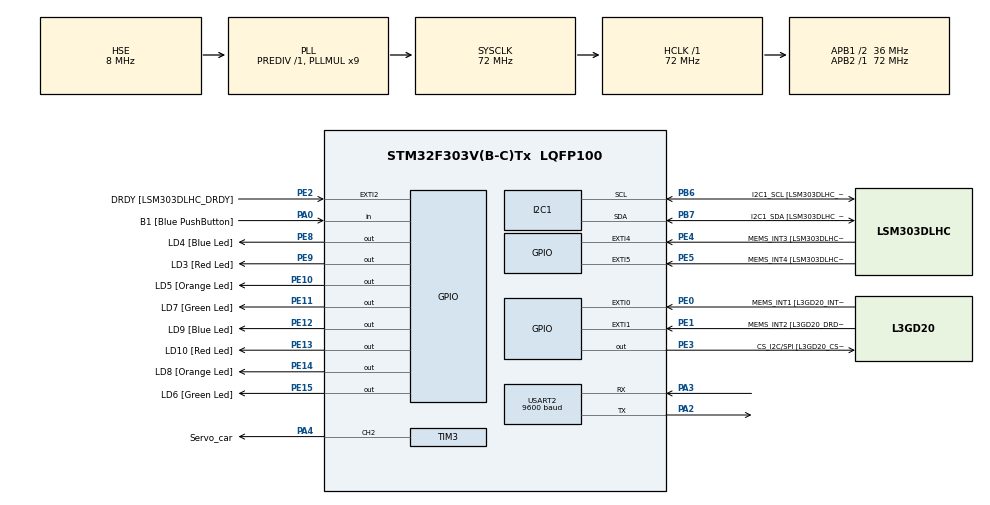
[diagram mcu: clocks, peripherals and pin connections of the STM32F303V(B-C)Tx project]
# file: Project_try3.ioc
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Mcu.Family=STM32F3
Mcu.Name=STM32F303V(B-C)Tx
Mcu.Package=LQFP100
NVIC.PriorityGroup=NVIC_PRIORITYGROUP_0
PA0.GPIO_Label=B1 [Blue PushButton]
PA0.GPIO_Mode=GPIO_MODE_INPUT
PA0.GPIO_PuPd=GPIO_NOPULL
PA0.Signal=GPIO_Input
PA11.GPIO_Label=DM
PA11.Signal=USB_DM
PA12.GPIO_Label=DP
PA12.Signal=USB_DP
PA13.GPIO_Label=SWDIO
PA13.Signal=SYS_JTMS-SWDIO
PA14.GPIO_Label=SWCLK
PA14.Signal=SYS_JTCK-SWCLK
PA2.Mode=Asynchronous
PA2.Signal=USART2_TX
PA3.Mode=Asynchronous
PA3.Signal=USART2_RX
PA4.GPIO_Label=Servo_car
PA4.Signal=S_TIM3_CH2
PA5.GPIO_Label=SPI1_SCK [L3GD20_SCL/SPC]
PA5.GPIO_Mode=GPIO_MODE_AF_PP
PA5.GPIO_PuPd=GPIO_NOPULL
PA5.GPIO_Speed=GPIO_SPEED_FREQ_LOW
PA5.Signal=SPI1_SCK
PA6.GPIO_Label=SPI1_MISO [L3GD20_SA0/SDO]
PA6.GPIO_Mode=GPIO_MODE_AF_PP
PA6.GPIO_PuPd=GPIO_NOPULL
PA6.GPIO_Speed=GPIO_SPEED_FREQ_LOW
PA6.Signal=SPI1_MISO
PA7.GPIO_Label=SPI1_MISO [L3GD20_SDA/SDI/SDO]
PA7.GPIO_Mode=GPIO_MODE_AF_PP
PA7.GPIO_PuPd=GPIO_NOPULL
PA7.GPIO_Speed=GPIO_SPEED_FREQ_LOW
PA7.Signal=SPI1_MOSI
PB3.GPIO_Label=SWO
PB3.Signal=SYS_JTDO-TRACESWO
PB6.GPIO_FM6=__NULL
PB6.GPIO_Label=I2C1_SCL [LSM303DLHC_SCL]
PB6.GPIO_Mode=GPIO_MODE_AF_OD
PB6.GPIO_PuPd=GPIO_NOPULL
PB6.GPIO_Speed=GPIO_SPEED_FREQ_LOW
PB6.Mode=I2C
PB6.Signal=I2C1_SCL
PB7.GPIO_FM7=__NULL
PB7.GPIO_Label=I2C1_SDA [LSM303DLHC_SDA]
PB7.GPIO_Mode=GPIO_MODE_AF_OD
PB7.GPIO_PuPd=GPIO_NOPULL
PB7.GPIO_Speed=GPIO_SPEED_FREQ_LOW
PB7.Mode=I2C
PB7.Signal=I2C1_SDA
PC14-OSC32_IN.GPIO_Label=OSC32_IN
PC14-OSC32_IN.Signal=RCC_OSC32_IN
PC15-OSC32_OUT.GPIO_Label=OSC32_OUT
PC15-OSC32_OUT.Signal=RCC_OSC32_OUT
PE0.GPIO_Label=MEMS_INT1 [L3GD20_INT1]
PE0.GPIO_ModeDefaultEXTI=GPIO_MODE_EVT_RISING
PE0.GPIO_PuPd=GPIO_NOPULL
PE0.Signal=GPXTI0
PE1.GPIO_Label=MEMS_INT2 [L3GD20_DRDY/INT2]
PE1.GPIO_ModeDefaultEXTI=GPIO_MODE_EVT_RISING
PE1.GPIO_PuPd=GPIO_NOPULL
PE1.Signal=GPXTI1
PE10.GPIO_Label=LD5 [Orange Led]
PE10.GPIO_ModeDefaultOutputPP=GPIO_MODE_OUTPUT_PP
PE10.GPIO_PuPd=GPIO_NOPULL
PE10.GPIO_Speed=GPIO_SPEED_FREQ_LOW
PE10.Signal=GPIO_Output
PE11.GPIO_Label=LD7 [Green Led]
PE11.GPIO_ModeDefaultOutputPP=GPIO_MODE_OUTPUT_PP
PE11.GPIO_PuPd=GPIO_NOPULL
PE11.GPIO_Speed=GPIO_SPEED_FREQ_LOW
PE11.Signal=GPIO_Output
PE12.GPIO_Label=LD9 [Blue Led]
PE12.GPIO_ModeDefaultOutputPP=GPIO_MODE_OUTPUT_PP
PE12.GPIO_PuPd=GPIO_NOPULL
PE12.GPIO_Speed=GPIO_SPEED_FREQ_LOW
PE12.Signal=GPIO_Output
PE13.GPIO_Label=LD10 [Red Led]
PE13.GPIO_ModeDefaultOutputPP=GPIO_MODE_OUTPUT_PP
PE13.GPIO_PuPd=GPIO_NOPULL
PE13.GPIO_Speed=GPIO_SPEED_FREQ_LOW
PE13.Signal=GPIO_Output
PE14.GPIO_Label=LD8 [Orange Led]
PE14.GPIO_ModeDefaultOutputPP=GPIO_MODE_OUTPUT_PP
PE14.GPIO_PuPd=GPIO_NOPULL
PE14.GPIO_Speed=GPIO_SPEED_FREQ_LOW
PE14.Signal=GPIO_Output
PE15.GPIO_Label=LD6 [Green Led]
PE15.GPIO_ModeDefaultOutputPP=GPIO_MODE_OUTPUT_PP
PE15.GPIO_PuPd=GPIO_NOPULL
PE15.GPIO_Speed=GPIO_SPEED_FREQ_LOW
PE15.Signal=GPIO_Output
PE2.GPIO_Label=DRDY [LSM303DLHC_DRDY]
PE2.GPIO_ModeDefaultEXTI=GPIO_MODE_EVT_RISING
PE2.GPIO_PuPd=GPIO_NOPULL
PE2.Signal=GPXTI2
PE3.GPIO_Label=CS_I2C/SPI [L3GD20_CS_I2C/SPI]
PE3.GPIO_ModeDefaultOutputPP=GPIO_MODE_OUTPUT_PP
PE3.GPIO_PuPd=GPIO_NOPULL
PE3.GPIO_Speed=GPIO_SPEED_FREQ_LOW
PE3.Signal=GPIO_Output
PE4.GPIO_Label=MEMS_INT3 [LSM303DLHC_INT1]
PE4.GPIO_ModeDefaultEXTI=GPIO_MODE_EVT_RISING
PE4.GPIO_PuPd=GPIO_NOPULL
PE4.Signal=GPXTI4
PE5.GPIO_Label=MEMS_INT4 [LSM303DLHC_INT2]
PE5.GPIO_ModeDefaultEXTI=GPIO_MODE_EVT_RISING
PE5.GPIO_PuPd=GPIO_NOPULL
PE5.Signal=GPXTI5
PE8.GPIO_Label=LD4 [Blue Led]
PE8.GPIO_ModeDefaultOutputPP=GPIO_MODE_OUTPUT_PP
PE8.GPIO_PuPd=GPIO_NOPULL
PE8.GPIO_Speed=GPIO_SPEED_FREQ_LOW
PE8.Signal=GPIO_Output
PE9.GPIO_Label=LD3 [Red Led]
PE9.GPIO_ModeDefaultOutputPP=GPIO_MODE_OUTPUT_PP
PE9.GPIO_PuPd=GPIO_NOPULL
PE9.GPIO_Speed=GPIO_SPEED_FREQ_LOW
PE9.Signal=GPIO_Output
PF0-OSC_IN.GPIO_Label=OSC_IN
PF0-OSC_IN.Mode=HSE-External-Clock-Source
PF0-OSC_IN.Signal=RCC_OSC_IN
PF1-OSC_OUT.GPIO_Label=OSC_OUT
PF1-OSC_OUT.Signal=RCC_OSC_OUT
ProjectManager.HeapSize=0x200
ProjectManager.StackSize=0x400
ProjectManager.TargetToolchain=SW4STM32
RCC.AHBFreq_Value=72000000
RCC.APB1CLKDivider=RCC_HCLK_DIV2
RCC.APB1Freq_Value=36000000
RCC.APB1TimFreq_Value=72000000
RCC.APB2Freq_Value=72000000
RCC.APB2TimFreq_Value=72000000
RCC.CortexFreq_Value=72000000
RCC.HCLKFreq_Value=72000000
RCC.HSE_VALUE=8000000
RCC.HSI_VALUE=8000000
RCC.LSE_VALUE=32768
RCC.PLLMUL=RCC_PLL_MUL9
RCC.PLLSourceVirtual=RCC_PLLSOURCE_HSE
RCC.SYSCLKFreq_VALUE=72000000
RCC.SYSCLKSourceVirtual=RCC_SYSCLKSOURCE_PLLCLK
RCC.USBFreq_Value=72000000
SH.S_TIM3_CH2.0=TIM3_CH2,PWM Generation2 CH2
TIM3.Channel-PWM\ Generation2\ CH2=TIM_CHANNEL_2
TIM3.Period=20000
TIM3.Prescaler=71
USART2.BaudRate=9600
USART2.VirtualMode-Asynchronous=VM_ASYNC
VP_TIM3_VS_ClockSourceINT.Mode=Internal
board=STM32F3DISCOVERY

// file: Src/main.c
/**
  ******************************************************************************
  * File Name          : main.c
  * Description        : Main program body
  ******************************************************************************
  ** This notice applies to any and all portions of this file
  * that are not between comment pairs USER CODE BEGIN and
  * USER CODE END. Other portions of this file, whether
  * inserted by the user or by software development tools
  * are owned by their respective copyright owners.
  *
  * COPYRIGHT(c) 2018 STMicroelectronics
  *
  * Redistribution and use in source and binary forms, with or without modification,
  * are permitted provided that the following conditions are met:
  *   1. Redistributions of source code must retain the above copyright notice,
  *      this list of conditions and the following disclaimer.
  *   2. Redistributions in binary form must reproduce the above copyright notice,
  *      this list of conditions and the following disclaimer in the documentation
  *      and/or other materials provided with the distribution.
  *   3. Neither the name of STMicroelectronics nor the names of its contributors
  *      may be used to endorse or promote products derived from this software
  *      without specific prior written permission.
  *
  * THIS SOFTWARE IS PROVIDED BY THE COPYRIGHT HOLDERS AND CONTRIBUTORS "AS IS"
  * AND ANY EXPRESS OR IMPLIED WARRANTIES, INCLUDING, BUT NOT LIMITED TO, THE
  * IMPLIED WARRANTIES OF MERCHANTABILITY AND FITNESS FOR A PARTICULAR PURPOSE ARE
  * DISCLAIMED. IN NO EVENT SHALL THE COPYRIGHT HOLDER OR CONTRIBUTORS BE LIABLE
  * FOR ANY DIRECT, INDIRECT, INCIDENTAL, SPECIAL, EXEMPLARY, OR CONSEQUENTIAL
  * DAMAGES (INCLUDING, BUT NOT LIMITED TO, PROCUREMENT OF SUBSTITUTE GOODS OR
  * SERVICES; LOSS OF USE, DATA, OR PROFITS; OR BUSINESS INTERRUPTION) HOWEVER
  * CAUSED AND ON ANY THEORY OF LIABILITY, WHETHER IN CONTRACT, STRICT LIABILITY,
  * OR TORT (INCLUDING NEGLIGENCE OR OTHERWISE) ARISING IN ANY WAY OUT OF THE USE
  * OF THIS SOFTWARE, EVEN IF ADVISED OF THE POSSIBILITY OF SUCH DAMAGE.
  *
  ******************************************************************************
  */
#include "main.h"
#include "stm32f3xx_hal.h"
#include "i2c.h"
#include "tim.h"
#include "usart.h"
#include "gpio.h"

/* USER CODE BEGIN Includes */
#include "RTC.h"
#include "servo_car.h"
#define I2C1_DEVICE_ADDRESS      0x68
uint8_t xBuffer[32];

#define read_sec 		xBuffer[0]&0xF
#define read_dsec 		(xBuffer[0]&(0xF<<4))>>4
#define read_min 		xBuffer[1]&0xF
#define	read_dmin 		(xBuffer[1]&(0xF<<4))>>4
#define read_hrs 		xBuffer[2]&0xF
#define read_dhrs 		(xBuffer[2]&(0xF<<4))>>4
#define enabled	    	(xBuffer[3])&0xF

/* USER CODE END Includes */

/* USER CODE BEGIN PV */
/* Private variables ---------------------------------------------------------*/

/* USER CODE END PV */

void SystemClock_Config(void);

/* USER CODE BEGIN PFP */
/* Private function prototypes -----------------------------------------------*/

/* USER CODE END PFP */

/* USER CODE BEGIN 0 */

uint8_t scldel;
uint8_t sdadel;

void i2c_conf() {
    RCC -> AHBENR |= RCC_AHBENR_GPIOBEN;
    GPIOB -> OSPEEDR &= ~GPIO_OSPEEDER_OSPEEDR6 | ~GPIO_OSPEEDER_OSPEEDR7;
    GPIOB -> MODER |= GPIO_MODER_MODER6_1 | GPIO_MODER_MODER7_1;
    GPIOB -> OTYPER |= GPIO_OTYPER_OT_6 | GPIO_OTYPER_OT_7;
    GPIOB -> AFR[0] |= (4 << 24) | (4 << 28);

    RCC->APB1ENR |= RCC_APB1ENR_I2C1EN ;

    I2C1->CR1 |= I2C_CR1_ANFOFF;

    scldel = 4;
    sdadel = 5;
    I2C1->TIMINGR = 0xF0001317 | ((scldel & 0x0F) << 20) | ((sdadel & 0x0F) << 16);
    I2C1->CR2 |= (0x1E << 1);
    I2C1->CR1 |= I2C_CR1_PE;
}

void i2c_write_byte(uint8_t addr, uint8_t data) {
    I2C1->CR2 &= ~(I2C_CR2_RD_WRN);
    I2C1->CR2 |= I2C_CR2_START |  (2 << 16);
    while(I2C1->CR2 & I2C_CR2_START);
    I2C1->TXDR = addr;
    while (!(I2C1->ISR & I2C_ISR_TXE));

    I2C1->TXDR = data;
    while (!(I2C1->ISR & I2C_ISR_TXE));
    I2C1->CR2 |= I2C_CR2_STOP;
    while(I2C1->CR2 & I2C_CR2_STOP);
}

uint8_t i2c_read_byte(uint8_t addr) {
    uint8_t data = 0;

    I2C1->CR2 &= ~(I2C_CR2_RD_WRN);
    I2C1->CR2 &= ~(0xff << 16);
    I2C1->CR2 |= I2C_CR2_START | (1 << 16);
    while(I2C1->CR2 & I2C_CR2_START);

    I2C1->TXDR = addr;
    while (!(I2C1->ISR & I2C_ISR_TXE));

    I2C1->CR2 |= I2C_CR2_RD_WRN;
    I2C1->CR2 |= I2C_CR2_START | (1 << 16);
    while(I2C1->CR2 & I2C_CR2_START);
    while (!(I2C1->ISR & I2C_ISR_RXNE));
    data = I2C1->RXDR;
    I2C1->CR2 |= I2C_CR2_STOP;
    while(I2C1->CR2 & I2C_CR2_STOP);
    return data;
}

int ifDisableAlarm(char curr_buf[]){
	char disable_cmd[] = "DISABLE_ALARM";
	for (int i = 0; i < 3; i++){
//		char curr_buff_char = curr_buff[i];
//		char curr_disable_cmd = disable_cmd[i];
		if (curr_buf[i] != disable_cmd[i]){
			return 0;
		}
	}
	return 1;
}

/* USER CODE END 0 */

int main(void)
{

  /* USER CODE BEGIN 1 */
  extern void initialise_monitor_handles(void);
  initialise_monitor_handles();
  /* USER CODE END 1 */

  /* MCU Configuration----------------------------------------------------------*/

  /* Reset of all peripherals, Initializes the Flash interface and the Systick. */
  HAL_Init();

  /* Configure the system clock */
  SystemClock_Config();

  /* Initialize all configured peripherals */
  MX_GPIO_Init();
  MX_I2C1_Init();
  MX_USART2_UART_Init();
  MX_TIM3_Init();

  /* USER CODE BEGIN 2 */
   char buf[16] = {0};
   for(int i = 0; i<sizeof(buf)-1; ++i)
	   buf[i] = '+';
   int buff_changed = 0;
   HAL_TIM_PWM_Start(&htim3, TIM_CHANNEL_2);
  /* USER CODE END 2 */

  /* Infinite loop */
  /* USER CODE BEGIN WHILE */
   // sg90 configuration
   TIM3 -> CCR2 = 900;
   HAL_Delay(1000);
   int k, curAngle = 700;

  /*configure correct time*/
  configure_time(1, 4, 0, 2);
  uint8_t zero[] = {0};

  int disableAlarm = 0;
  int dhr, hr, dmn, mn;

  /*setup alarm data*/
  //set_alarm(1, 4, 1, 0);

  HAL_I2C_Mem_Read(&hi2c1, 0x68*2, 0, 1, xBuffer, 0x10, 500);
  HAL_I2C_Mem_Write(&hi2c1, 0x68*2, 0xF, 1, (zero), 1, 500);	// reload alarm trigger
  while (1)
  {
	  int res;
	  int i = 0;
	  while( (HAL_UART_Receive(&huart2, buf+i, 1, 1000) == HAL_OK) && i<16  )
	  {
		  ++i;
	  }
	  buf[i] = 0;
	  if(i!=0){
		  printf("buf received: |%s|%i|\n\n", buf, strlen(buf));
		  buff_changed = 1;
		  disableAlarm = ifDisableAlarm(buf);
	  }
	  /*
	  if(__HAL_UART_GET_FLAG(&huart2, UART_FLAG_RXNE)){
	  		  HAL_UART_Receive(&huart2, buf, 15, 1000);
	  		  printf("buf received: |%s|%i|\n\n", buf, strlen(buf));
	  		  buff_changed = 1;
	  		  disableAlarm = ifDisableAlarm(buf);
	  	  }
	  	  */
	  if (buff_changed){
		  printf("%s, \n\n", buf);

		  if(disableAlarm == 1){
				  // DISABLE ALARM
				  printf("disabling alarm...\n\n");
				  disable_alarm();
				  for(int i = 0; i<sizeof(buf)-1; ++i)
				  	   buf[i] = '+';
				  MX_USART2_UART_Init();
			  }
		  else {

			  for (int j=0; j< 14; j++){

				  printf(">> %02x \n", (int)buf[j]);
			  }
				   dhr = (int)buf[10] - '0';
				   hr = (int)buf[11] - '0';

				   dmn = (int)buf[13] - '0';
				   mn = (int)buf[14] - '0';
				  printf("setting alarm...");

				  printf("===>> %d %d %d %d \n\n",dhr, hr, dmn, mn);
				  set_alarm(dhr, hr, dmn, mn);
				  for(int i = 0; i<sizeof(buf)-1; ++i)
				  	   buf[i] = '+';
				  MX_USART2_UART_Init();
			  }
		  buff_changed = 0;
	  }

	  HAL_I2C_Mem_Read(&hi2c1, 0x68*2, 0, 1, xBuffer, 0x10, 500);
	  printf("%i %i%i : %i%i : %i%i\n\n",(int)enabled, read_dhrs, read_hrs, read_dmin, read_min, read_dsec, read_sec);
	  if ((int)enabled == 2){
		  continue;
	  }
	  if (!(is_time_to_alarm())){
		  continue;
	  }

	  /* RING ALARM */
	  k = turnLight(curAngle);

/*
	  printf("-----\n");
	  printf("ALARM ALERT!!!\n");
	  printf("-----\n");
	  printf("alarm data:\n");
	  printf("%i%i : %i%i : %i%i\n", (xBuffer[9]&(0xF<<4))>>4, xBuffer[9]&0xF, (xBuffer[8]&(0xF<<4))>>4, xBuffer[8]&0xF, (xBuffer[7]&(0xF<<4))>>4, xBuffer[7]&0xF);
	  printf("-----\n");

*/
	  HAL_I2C_Mem_Write(&hi2c1, 0x68*2, 0xF, 1, (zero), 1, 500);	// reload alarm trigger

  /* USER CODE END WHILE */

  }

}

/** System Clock Configuration
*/
void SystemClock_Config(void)
{

  RCC_OscInitTypeDef RCC_OscInitStruct;
  RCC_ClkInitTypeDef RCC_ClkInitStruct;
  RCC_PeriphCLKInitTypeDef PeriphClkInit;

    /**Initializes the CPU, AHB and APB busses clocks
    */
  RCC_OscInitStruct.OscillatorType = RCC_OSCILLATORTYPE_HSI|RCC_OSCILLATORTYPE_HSE;
  RCC_OscInitStruct.HSEState = RCC_HSE_BYPASS;
  RCC_OscInitStruct.HSEPredivValue = RCC_HSE_PREDIV_DIV1;
  RCC_OscInitStruct.HSIState = RCC_HSI_ON;
  RCC_OscInitStruct.HSICalibrationValue = 16;
  RCC_OscInitStruct.PLL.PLLState = RCC_PLL_ON;
  RCC_OscInitStruct.PLL.PLLSource = RCC_PLLSOURCE_HSE;
  RCC_OscInitStruct.PLL.PLLMUL = RCC_PLL_MUL9;
  if (HAL_RCC_OscConfig(&RCC_OscInitStruct) != HAL_OK)
  {
    _Error_Handler(__FILE__, __LINE__);
  }

    /**Initializes the CPU, AHB and APB busses clocks
    */
  RCC_ClkInitStruct.ClockType = RCC_CLOCKTYPE_HCLK|RCC_CLOCKTYPE_SYSCLK
                              |RCC_CLOCKTYPE_PCLK1|RCC_CLOCKTYPE_PCLK2;
  RCC_ClkInitStruct.SYSCLKSource = RCC_SYSCLKSOURCE_PLLCLK;
  RCC_ClkInitStruct.AHBCLKDivider = RCC_SYSCLK_DIV1;
  RCC_ClkInitStruct.APB1CLKDivider = RCC_HCLK_DIV2;
  RCC_ClkInitStruct.APB2CLKDivider = RCC_HCLK_DIV1;

  if (HAL_RCC_ClockConfig(&RCC_ClkInitStruct, FLASH_LATENCY_2) != HAL_OK)
  {
    _Error_Handler(__FILE__, __LINE__);
  }

  PeriphClkInit.PeriphClockSelection = RCC_PERIPHCLK_USART2|RCC_PERIPHCLK_I2C1;
  PeriphClkInit.Usart2ClockSelection = RCC_USART2CLKSOURCE_PCLK1;
  PeriphClkInit.I2c1ClockSelection = RCC_I2C1CLKSOURCE_HSI;
  if (HAL_RCCEx_PeriphCLKConfig(&PeriphClkInit) != HAL_OK)
  {
    _Error_Handler(__FILE__, __LINE__);
  }

    /**Configure the Systick interrupt time
    */
  HAL_SYSTICK_Config(HAL_RCC_GetHCLKFreq()/1000);

    /**Configure the Systick
    */
  HAL_SYSTICK_CLKSourceConfig(SYSTICK_CLKSOURCE_HCLK);

  /* SysTick_IRQn interrupt configuration */
  HAL_NVIC_SetPriority(SysTick_IRQn, 0, 0);
}

void _Error_Handler(char * file, int line)
{
  while(1)
  {
  }
}

/************************ (C) COPYRIGHT STMicroelectronics *****END OF FILE****/
